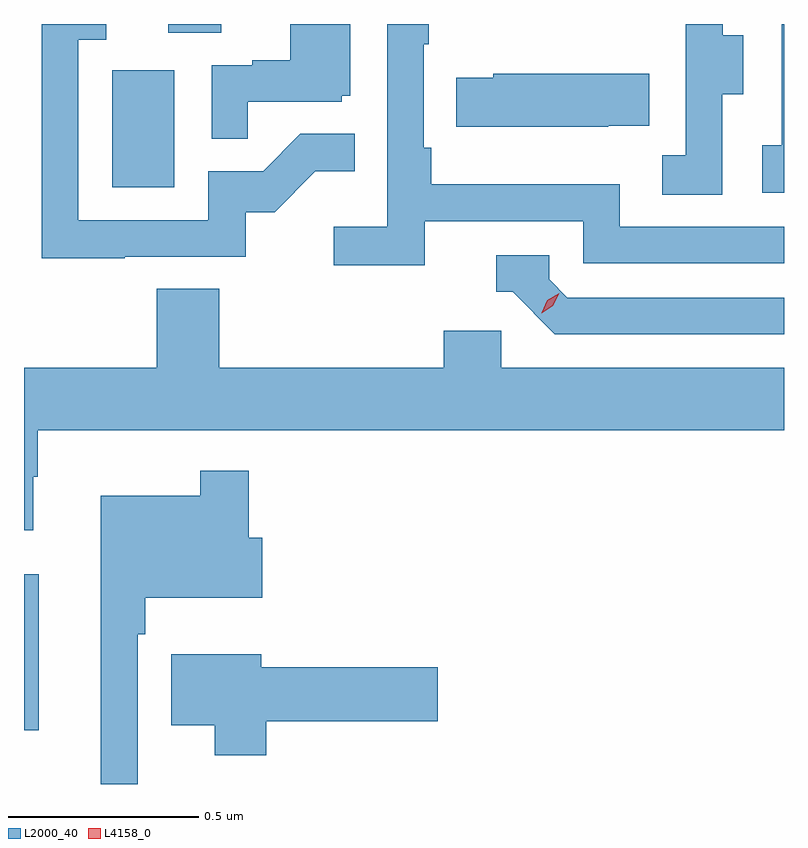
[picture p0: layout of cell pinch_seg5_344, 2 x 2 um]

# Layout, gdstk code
import gdstk
lib = gdstk.Library(unit=1e-6, precision=1e-09)
def R(c, l, rs):  # rectangles x0, y0, x1, y1
    for r in rs: c.add(gdstk.rectangle(r[:2], r[2:], *l))
def P(c, l, *ps):  # polygons
    for p in ps: c.add(gdstk.Polygon(p, *l))
L2000_40 = (2000, 40)
L4158_0 = (4158, 0)

pinch_seg5_344 = lib.new_cell('pinch_seg5_344')
R(pinch_seg5_344, L2000_40, [(893.914,886.607,893.953,887.017), (894.146,888.036,894.31,888.343), (894.293,888.442,894.433,888.465)])
P(pinch_seg5_344, L2000_40, [(894.503,888.261),(894.75,888.261),(894.75,888.276),(894.772,888.276),(894.772,888.465),(894.614,888.465),(894.614,888.37),(894.515,888.37),(894.515,888.357),(894.408,888.357),(894.408,888.163),(894.503,888.163)],
  [(895.752,888.28),(895.807,888.28),(895.807,888.435),(895.753,888.435),(895.753,888.465),(895.655,888.465),(895.655,888.423),(895.656,888.423),(895.656,888.119),(895.593,888.119),(895.593,888.016),(895.752,888.016)],
  [(894.968,887.946),(895.386,887.946),(895.386,887.835),(895.914,887.835),(895.914,887.931),(895.482,887.931),(895.482,888.043),(894.986,888.043),(894.986,888.139),(894.966,888.139),(894.966,888.412),(894.979,888.412),(894.979,888.465),(894.87,888.465),(894.87,887.932),(894.729,887.932),(894.729,887.83),(894.968,887.83)],
  [(895.914,888.465),(895.908,888.465),(895.908,888.146),(895.857,888.146),(895.857,888.021),(895.914,888.021)],
  [(894.179,887.853),(894.498,887.853),(894.498,887.97),(894.574,887.97),(894.681,888.077),(894.785,888.077),(894.785,888.176),(894.641,888.176),(894.543,888.078),(894.399,888.078),(894.399,887.949),(894.057,887.949),(894.057,888.423),(894.13,888.423),(894.13,888.465),(893.961,888.465),(893.961,887.848),(894.179,887.848)],
  [(895.451,888.197),(895.559,888.197),(895.559,888.334),(895.149,888.334),(895.149,888.324),(895.051,888.324),(895.051,888.194),(895.451,888.194)],
  [(895.914,887.745),(895.344,887.745),(895.296,887.793),(895.296,887.856),(895.157,887.856),(895.157,887.76),(895.2,887.76),(895.311,887.649),(895.914,887.649)],
  [(893.938,887.273),(893.95,887.273),(893.95,887.396),(895.914,887.396),(895.914,887.56),(895.17,887.56),(895.17,887.658),(895.019,887.658),(895.019,887.56),(894.428,887.56),(894.428,887.768),(894.263,887.768),(894.263,887.56),(893.914,887.56),(893.914,887.133),(893.938,887.133)],
  [(894.213,886.859),(894.233,886.859),(894.233,886.955),(894.541,886.955),(894.541,887.113),(894.506,887.113),(894.506,887.29),(894.378,887.29),(894.378,887.224),(894.116,887.224),(894.116,886.465),(894.213,886.465)],
  [(894.551,886.63),(895.003,886.63),(895.003,886.772),(894.538,886.772),(894.538,886.807),(894.302,886.807),(894.302,886.619),(894.416,886.619),(894.416,886.541),(894.551,886.541)])
P(pinch_seg5_344, L4158_0, [(895.276,887.704),(895.276,887.705),(895.291,887.738),(895.322,887.757),(895.322,887.757),(895.322,887.757),(895.306,887.724),(895.276,887.704)])

lib.write_gds('pinch_seg5_344.gds')
